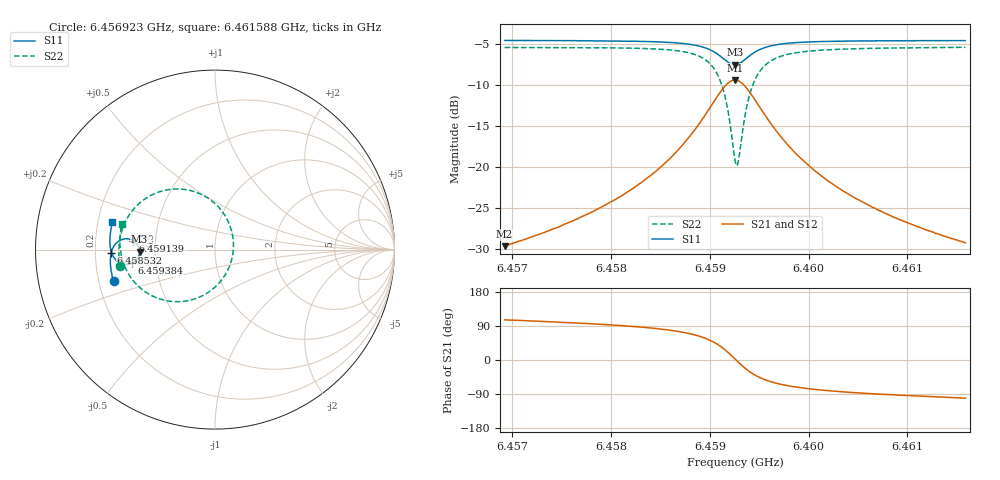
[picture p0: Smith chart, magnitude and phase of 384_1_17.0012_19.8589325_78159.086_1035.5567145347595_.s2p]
#  HZ  S  RI  R  50.00
! Rohde & Schwarz Vector Network Analyzer
! Rohde-Schwarz,ZNB20-2Port,1311601062101988,3.16
! Created: UTC 3/20/2024, 11:09:15 PM
! freq[Hz]  re:S11  im:S11  re:S21  im:S21  re:S12  im:S12  re:S22  im:S22
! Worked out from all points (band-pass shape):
!   401 points, 6.456923 GHz to 6.461588 GHz, reference 50 ohm
!   highest |S21| = -9.38 dB at 6.459255 GHz (marker M1); lowest = -29.6 dB at 6.456923 GHz (marker M2)
!   |S21| within 3 dB of the highest: 6.459022 GHz to 6.459489 GHz (466.9 kHz wide, 0.00723 % of centre)
!   lowest |S11| = -7.5 dB at 6.459255 GHz (marker M3), VSWR 2.45, Z = 20.4 - j0.566 ohm
!   |S11| at or under -10 dB: nowhere
!   |S22| runs from -19.8 to -5.4 dB; largest |S21 - S12| = 0.013
!   S11 on the Smith chart (normalised r, x): 6.456923 GHz: 0.26, -0.14; 6.458532 GHz: 0.27, -0.01; 6.459139 GHz: 0.37, +0.05; 6.459384 GHz: 0.36, -0.07; 6.461588 GHz: 0.26, +0.12
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6.4569229e9  -0.5654 -0.1765  -0.00906 0.0317  -0.00723 0.0318  -0.5291 -0.0893
6.4577043e9  -0.5799 -0.1084  -0.00609 0.0496  -0.00345 0.0489  -0.5356 0.000839
6.4581008e9  -0.5832 -0.0692  -0.00089 0.0666  0.0022 0.0655  -0.5293 0.0617
6.4584857e9  -0.5798 -0.0241  0.0133 0.0971  0.0172 0.0946  -0.504 0.1453
6.4585323e9  -0.5784 -0.0177  0.0166 0.1025  0.0205 0.0996  -0.4978 0.1583
6.4587422e9  -0.5664 0.0141  0.0422 0.1339  0.0463 0.1291  -0.4499 0.2297
6.4588939e9  -0.5456 0.0403  0.0841 0.1639  0.0874 0.1575  -0.3728 0.2934
6.4590455e9  -0.5002 0.0601  0.1745 0.1832  0.1755 0.1757  -0.2078 0.3379
6.4591388e9  -0.4562 0.0503  0.2631 0.1528  0.2634 0.1469  -0.044 0.2897
6.4591854e9  -0.4353 0.0319  0.3064 0.1108  0.3075 0.1055  0.0381 0.2152
6.4592554e9  -0.4206 -0.0114  0.3395 0.0157  0.343 0.00884  0.1029 0.0392
6.459267e9  -0.4211 -0.0194  0.3394 -0.00181  0.343 -0.00927  0.1026 0.0063
6.4592904e9  -0.4244 -0.0347  0.3341 -0.036  0.3377 -0.0448  0.0924 -0.0585
6.459337e9  -0.4397 -0.0604  0.3063 -0.095  0.3084 -0.1066  0.0366 -0.1699
6.4593837e9  -0.4613 -0.0764  0.265 -0.1355  0.2644 -0.1486  -0.0464 -0.2438
6.459477e9  -0.5041 -0.083  0.182 -0.1668  0.176 -0.178  -0.2117 -0.2903
6.4596286e9  -0.5473 -0.0627  0.0953 -0.1537  0.0871 -0.1597  -0.3769 -0.2428
6.4597919e9  -0.5686 -0.0351  0.0511 -0.1263  0.0437 -0.1291  -0.4563 -0.1723
6.4600368e9  -0.5811 0.000536  0.0222 -0.0956  0.0165 -0.0962  -0.504 -0.0912
6.460375e9  -0.5856 0.0403  0.00667 -0.07  0.00271 -0.0694  -0.525 -0.0149
6.4608181e9  -0.5835 0.0848  -0.00125 -0.0509  -0.00402 -0.0502  -0.5297 0.0549
6.4615879e9  -0.5711 0.1527  -0.00642 -0.034  -0.00812 -0.0331  -0.5185 0.1447
